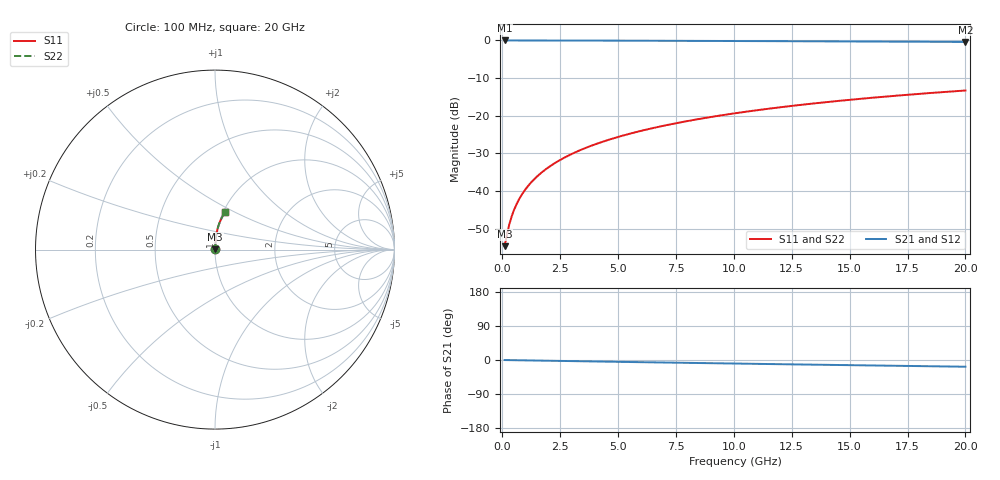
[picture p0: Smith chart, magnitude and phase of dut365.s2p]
! Touchstone file exported from HFSS 2024.1.0
!  File:  C:/UserFiles/LocalFiles/RDL_TSV_Batchsim/temp_RDL_bottom_365_1779613043.aedt
!  Generated:  05:00:47 PM May 24, 2026
!  Design:  RDL_bottom
!  Project:  temp_RDL_bottom_365_1779613043
!  Setup:  Setup1
!  Solution:  Sweep
! Variables:
!  dtsv = 10.80580581um
!  hbump = 3um
!  htsv = 91.73um
!  ldown = 196.45um
!  lrdl = 100um
!  p = 40
!  p1 = 50.24um
!  rhole = 1um
!  t = 450um
!  tdown = 3.12um
!  trdl = 3.915915916um
!  wdown = 17.28um
!  wrdl = 20um
# GHz S MA R 50.000000
! Terminal data exported
! Port[1] = RDL1_T1
! Port[2] = RDL1_T2
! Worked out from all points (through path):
!   200 points, 100 MHz to 20 GHz, reference 50 ohm
!   highest |S21| = -0.01 dB at 100 MHz (marker M1); lowest = -0.4 dB at 20 GHz (marker M2)
!   group delay of S21, straight-line fit = 2.45 ps
!   lowest |S11| = -54.6 dB at 100 MHz (marker M3), VSWR 1.00, Z = 50.2 + j0.109 ohm
!   |S11| at or under -10 dB: start of sweep to end of sweep
!   |S22| runs from -54.6 to -13.3 dB; largest |S21 - S12| = 2.5e-15
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0.1  0.001862 35.8  0.9985 -0.1  0.9985 -0.1  0.001862 35.8
! Gamma 0 0 0 0
! Port Impedance 50 0 50 0
0.2  0.00266 54.5  0.9984 -0.2  0.9984 -0.2  0.00266 54.5
0.3  0.003594 63.8  0.9984 -0.3  0.9984 -0.3  0.003594 63.8
0.4  0.00457 69.1  0.9983 -0.4  0.9983 -0.4  0.00457 69.1
0.5  0.005558 72.5  0.9983 -0.5  0.9983 -0.5  0.005558 72.5
0.6  0.006552 74.9  0.9982 -0.6  0.9982 -0.6  0.006552 74.9
0.8  0.008551 78.1  0.9981 -0.8  0.9981 -0.8  0.008551 78.1
1.1  0.01157 80.9  0.9979 -1.1  0.9979 -1.1  0.01157 80.9
1.5  0.01564 83.0  0.9977 -1.5  0.9977 -1.5  0.01564 83.0
1.8  0.01872 84.0  0.9974 -1.8  0.9974 -1.8  0.01872 84.0
2.1  0.0218 84.6  0.9972 -2.1  0.9972 -2.1  0.0218 84.6
2.7  0.02802 85.5  0.9965 -2.7  0.9965 -2.7  0.02802 85.5
3.5  0.0364 86.0  0.9954 -3.4  0.9954 -3.4  0.0364 86.0
4.2  0.04381 86.2  0.9943 -4.1  0.9943 -4.1  0.04381 86.2
5  0.05237 86.1  0.9929 -4.8  0.9929 -4.8  0.05237 86.1
5.9  0.06211 85.9  0.9911 -5.7  0.9911 -5.7  0.06211 85.9
6.8  0.07193 85.6  0.9892 -6.5  0.9892 -6.5  0.07194 85.6
8.3  0.08848 84.7  0.9858 -7.9  0.9858 -7.9  0.08848 84.7
10.1  0.1085 83.5  0.9814 -9.4  0.9814 -9.4  0.1085 83.5
13.4  0.1452 80.8  0.973 -12.3  0.973 -12.3  0.1452 80.8
16.7  0.1813 78.0  0.964 -15.0  0.964 -15.0  0.1813 78.0
20  0.2165 75.1  0.9545 -17.8  0.9545 -17.8  0.2165 75.1
